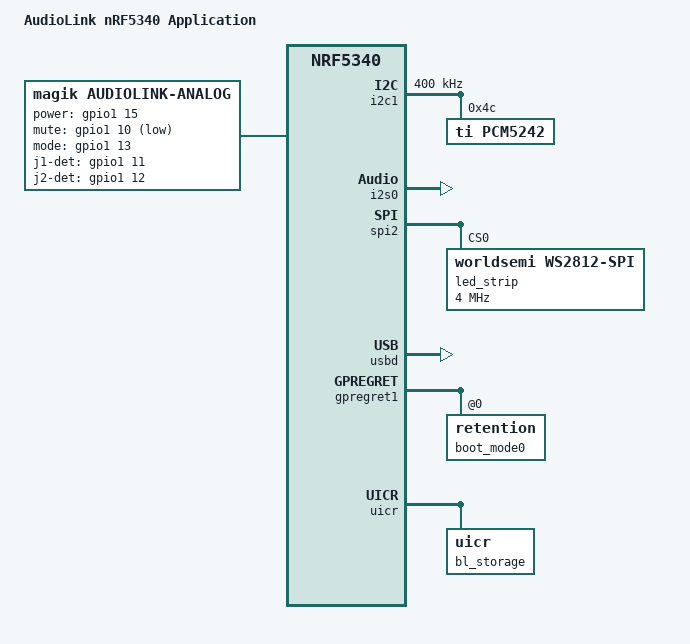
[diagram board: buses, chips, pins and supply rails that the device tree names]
/dts-v1/;
#include <nordic/nrf5340_cpuapp_qkaa.dtsi>
#include <zephyr/dt-bindings/led/led.h>
#include "audiolink_nrf5340_cpuapp-pinctrl.dtsi"

/ {
	model = "AudioLink nRF5340 Application";
	compatible = "magik,audiolink-nrf5340-cpuapp";

	chosen {
		zephyr,sram = &sram0_image;
		zephyr,flash = &flash0;
		zephyr,code-partition = &slot0_partition;
		zephyr,sram-secure-partition = &sram0_s;
		zephyr,sram-non-secure-partition = &sram0_ns;
		zephyr,bt-hci = &bt_hci_ipc0;
		zephyr,boot-mode = &boot_mode0;
	};

	/*
	 * J1/J2 detect: the NRJ6HM-1 sleeve-normal contact shorts SN to the grounded
	 * sleeve until a plug is inserted, after which R12/R13 pull it high.
	 */
	analog: analog {
		compatible = "magik,audiolink-analog";
		power-gpios = <&gpio1 15 GPIO_ACTIVE_HIGH>;
		mute-gpios = <&gpio1 10 GPIO_ACTIVE_LOW>;
		mode-gpios = <&gpio1 13 GPIO_ACTIVE_HIGH>;
		j1-det-gpios = <&gpio1 11 GPIO_ACTIVE_HIGH>;
		j2-det-gpios = <&gpio1 12 GPIO_ACTIVE_HIGH>;
	};

	aliases {
		led-strip = &led_strip;
	};
};

&vregmain {
	regulator-initial-mode = <NRF5X_REG_MODE_LDO>;
};

&vregradio {
	regulator-initial-mode = <NRF5X_REG_MODE_LDO>;
};

/* VDDH is tied to VDD, so the high voltage regulator is not used. */
&vregh {
	status = "disabled";
};

/* Y1 has its own 7 pF load capacitors (C15/C16). */
&lfxo {
	load-capacitors = "external";
};

&clock {
	hfclkaudio-frequency = <12288000>;
};

&gpiote {
	status = "okay";
};

&gpio0 {
	status = "okay";
};

&gpio1 {
	status = "okay";
};

&i2c1 {
	compatible = "nordic,nrf-twim";
	status = "okay";
	clock-frequency = <I2C_BITRATE_FAST>;
	pinctrl-0 = <&i2c1_default>;
	pinctrl-1 = <&i2c1_sleep>;
	pinctrl-names = "default", "sleep";

	/* ADR1 and ADR2 strapped low */
	pcm5242: pcm5242@4c {
		compatible = "ti,pcm5242";
		reg = <0x4c>;
	};
};

&i2s0 {
	status = "okay";
	pinctrl-0 = <&i2s0_default>;
	pinctrl-1 = <&i2s0_sleep>;
	pinctrl-names = "default", "sleep";
	clock-source = "ACLK";
};

/*
 * At 4 MHz one SPI bit is 250 ns, so each WS2812 bit is sent as a 4-bit symbol:
 * 0b1000 = 0.25 us high (zero), 0b1110 = 0.75 us high (one).
 */
&spi2 {
	compatible = "nordic,nrf-spim";
	status = "okay";
	pinctrl-0 = <&spi2_default>;
	pinctrl-1 = <&spi2_sleep>;
	pinctrl-names = "default", "sleep";

	led_strip: ws2812@0 {
		compatible = "worldsemi,ws2812-spi";
		reg = <0>;
		spi-max-frequency = <4000000>;
		chain-length = <4>;
		color-mapping = <LED_COLOR_ID_GREEN
				 LED_COLOR_ID_RED
				 LED_COLOR_ID_BLUE>;
		spi-one-frame = <0x70>;
		spi-zero-frame = <0x40>;
	};
};

zephyr_udc0: &usbd {
	compatible = "nordic,nrf-usbd";
	status = "okay";
};

/*
 * No external flash, so the network core update is staged in slot3 next to the
 * two application slots.
 */
&flash0 {
	partitions {
		ranges;
		#address-cells = <1>;
		#size-cells = <1>;

		boot_partition: partition@0 {
			compatible = "zephyr,mapped-partition";
			label = "mcuboot";
			reg = <0x00000000 DT_SIZE_K(64)>;
		};

		slot0_partition: partition@10000 {
			compatible = "zephyr,mapped-partition";
			label = "image-0";
			reg = <0x00010000 DT_SIZE_K(352)>;
		};

		slot1_partition: partition@68000 {
			compatible = "zephyr,mapped-partition";
			label = "image-1";
			reg = <0x00068000 DT_SIZE_K(352)>;
		};

		slot3_partition: partition@c0000 {
			compatible = "zephyr,mapped-partition";
			label = "image-3";
			reg = <0x000c0000 DT_SIZE_K(224)>;
		};

		storage_partition: partition@f8000 {
			compatible = "zephyr,mapped-partition";
			label = "storage";
			reg = <0x000f8000 DT_SIZE_K(32)>;
		};
	};
};

/* Survives a soft reset, so the application can tell MCUboot to stay in USB recovery mode */
&gpregret1 {
	status = "okay";

	boot_mode0: boot_mode@0 {
		compatible = "zephyr,retention";
		status = "okay";
		reg = <0x0 0x1>;
	};
};

&uicr {
	bl_storage: uicr@100 {
		reg = <0x100 0x280>;
	};
};

#include <nordic/nrf5340_sram_partition.dtsi>
#include <nordic/nrf5340_shared_sram_partition.dtsi>
